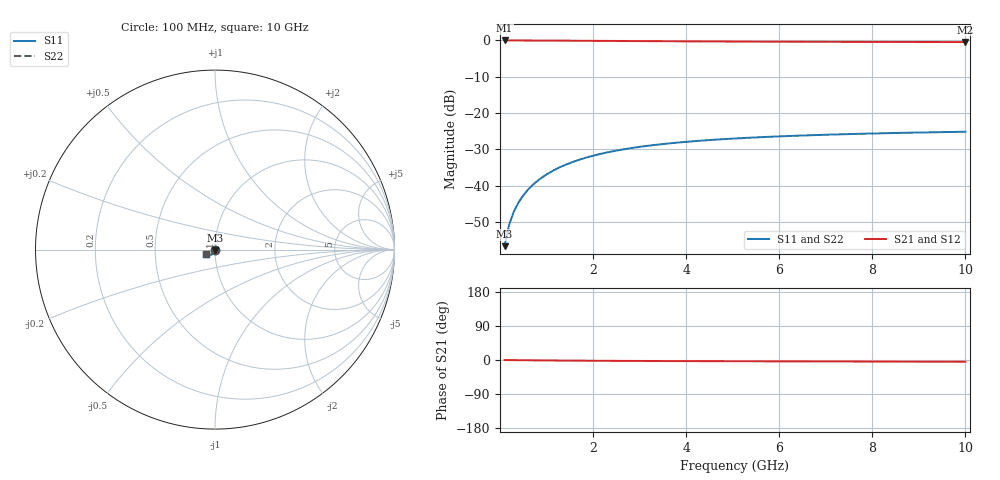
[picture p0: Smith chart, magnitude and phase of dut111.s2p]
! Touchstone file exported from HFSS 2024.1.0
!  File:  C:/UserFiles/LocalFiles/RDL_TSV_Batchsim/temp_TSV1_111_1778827332.aedt
!  Generated:  02:47:20 PM May 15, 2026
!  Design:  TSV1
!  Project:  temp_TSV1_111_1778827332
!  Setup:  Setup1
!  Solution:  Sweep
! Variables:
!  dtsv = 13.54um
!  hbump = 3um
!  htsv = 67.57um
!  lrdl = 252.1521522um
!  p = 40
!  p1 = 43.61um
!  t = 500um
!  trdl = 3um
!  wrdl = 24.89489489um
# GHz S MA R 50.000000
! Terminal data exported
! Port[1] = TSV22_T1
! Port[2] = TSV22_T2
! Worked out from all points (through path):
!   100 points, 100 MHz to 10 GHz, reference 50 ohm
!   highest |S21| = 0.00 dB at 100 MHz (marker M1); lowest = -0.4 dB at 10 GHz (marker M2)
!   lowest |S11| = -56.7 dB at 100 MHz (marker M3), VSWR 1.00, Z = 50 - j0.147 ohm
!   |S11| at or under -10 dB: start of sweep to end of sweep
!   |S22| runs from -56.7 to -25.1 dB; largest |S21 - S12| = 3.1e-15
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0.1  0.00147 -88.4  0.9999 -0.1  0.9999 -0.1  0.00147 -88.4
! Gamma 0 0 0 0
! Port Impedance 50 0 50 0
0.2  0.002952 -91.3  0.9998 -0.2  0.9998 -0.2  0.002952 -91.3
0.3  0.004427 -93.4  0.9995 -0.4  0.9995 -0.4  0.004427 -93.4
0.4  0.00589 -95.2  0.9993 -0.5  0.9993 -0.5  0.00589 -95.2
0.5  0.007338 -96.8  0.9989 -0.6  0.9989 -0.6  0.007338 -96.8
0.6  0.008769 -98.4  0.9985 -0.7  0.9985 -0.7  0.008769 -98.4
0.7  0.01018 -100.0  0.998 -0.8  0.998 -0.8  0.01018 -100.0
0.8  0.01157 -101.5  0.9974 -0.9  0.9974 -0.9  0.01157 -101.5
0.9  0.01293 -103.0  0.9968 -1.0  0.9968 -1.0  0.01293 -103.0
1.1  0.01557 -105.8  0.9955 -1.2  0.9955 -1.2  0.01557 -105.8
1.4  0.0193 -109.9  0.9932 -1.5  0.9932 -1.5  0.0193 -109.9
1.6  0.02162 -112.4  0.9915 -1.7  0.9915 -1.7  0.02162 -112.4
1.8  0.02381 -114.8  0.9898 -1.8  0.9898 -1.8  0.02381 -114.8
2.1  0.02683 -118.2  0.9871 -2.0  0.9871 -2.0  0.02683 -118.2
2.5  0.03041 -122.3  0.9837 -2.3  0.9837 -2.3  0.03041 -122.3
2.9  0.03352 -125.9  0.9804 -2.5  0.9804 -2.5  0.03352 -125.9
3.4  0.03685 -129.9  0.9765 -2.7  0.9765 -2.7  0.03685 -129.9
4.2  0.04114 -135.1  0.971 -3.0  0.971 -3.0  0.04114 -135.1
5.1  0.04486 -139.8  0.9659 -3.3  0.9659 -3.3  0.04486 -139.8
6.7  0.0496 -146.1  0.959 -3.7  0.959 -3.7  0.0496 -146.1
8.4  0.05302 -150.8  0.9538 -4.2  0.9538 -4.2  0.05302 -150.8
10  0.0553 -154.3  0.9503 -4.6  0.9503 -4.6  0.0553 -154.3
